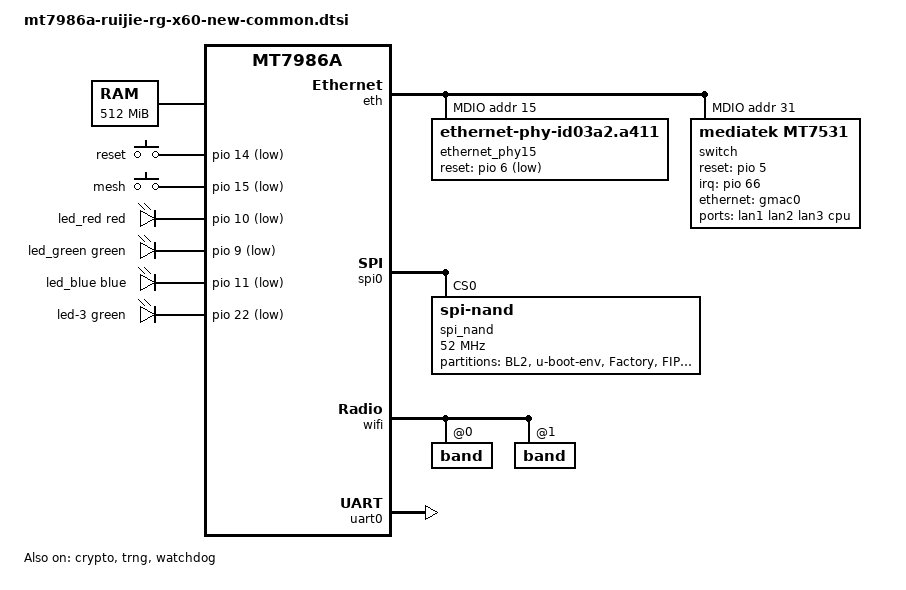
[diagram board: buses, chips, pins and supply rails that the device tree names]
// SPDX-License-Identifier: (GPL-2.0 OR MIT)

/dts-v1/;
#include <dt-bindings/input/input.h>
#include <dt-bindings/gpio/gpio.h>
#include <dt-bindings/leds/common.h>

#include "mt7986a.dtsi"
#include "mt7986-pinctrl.dtsi"

/ {
	aliases {
		serial0 = &uart0;
		led-boot = &led_red;
 		led-failsafe = &led_red;
 		led-running = &led_green;
 		led-upgrade = &led_blue;
	};

	chosen: chosen {
		stdout-path = "serial0:115200n8";
	};

	memory@40000000 {
		reg = <0 0x40000000 0 0x20000000>;
		device_type = "memory";
	};

	gpio-keys {
		compatible = "gpio-keys";

		button-0 {
			label = "reset";
			gpios = <&pio 14 GPIO_ACTIVE_LOW>;
			linux,code = <KEY_RESTART>;
		};

		button-1 {
			label = "mesh";
			gpios = <&pio 15 GPIO_ACTIVE_LOW>;
			linux,code = <BTN_MISC>;
		};
	};

	gpio-leds {
		compatible = "gpio-leds";

		led_red: led-0 {
			color = <LED_COLOR_ID_RED>;
			function = LED_FUNCTION_STATUS;
			gpios = <&pio 10 GPIO_ACTIVE_LOW>;
		};

		led_green: led-1 {
			color = <LED_COLOR_ID_GREEN>;
			function = LED_FUNCTION_STATUS;
			gpios = <&pio 9 GPIO_ACTIVE_LOW>;
		};

		led_blue: led-2 {
			color = <LED_COLOR_ID_BLUE>;
			function = LED_FUNCTION_STATUS;
			gpios = <&pio 11 GPIO_ACTIVE_LOW>;
		};

		led-3 {
			color = <LED_COLOR_ID_GREEN>;
			function = "mesh";
			gpios = <&pio 22 GPIO_ACTIVE_LOW>;
		};
	};
};

&eth {
	status = "okay";

	gmac0: mac@0 {
		compatible = "mediatek,eth-mac";
		reg = <0>;
		phy-mode = "2500base-x";

		nvmem-cells = <&label_mac 1>;
		nvmem-cell-names = "mac-address";

		fixed-link {
			speed = <2500>;
			full-duplex;
			pause;
		};
	};

	gmac1: mac@1 {
		compatible = "mediatek,eth-mac";
		reg = <1>;
		phy-mode = "2500base-x";
		phy-handle = <&ethernet_phy15>;

		nvmem-cells = <&label_mac 0>;
		nvmem-cell-names = "mac-address";
	};

	mdio-bus {
		#address-cells = <1>;
		#size-cells = <0>;

		ethernet_phy15: ethernet-phy@15 {
			compatible = "ethernet-phy-id03a2.a411";
			reg = <15>;
			reset-gpios = <&pio 6 GPIO_ACTIVE_LOW>;
			reset-assert-us = <10000>;
			reset-deassert-us = <10000>;
			phy-mode = "2500base-x";
			airoha,phy-handle;
		};

		switch@1f {
			compatible = "mediatek,mt7531";
			reg = <31>;
			reset-gpios = <&pio 5 GPIO_ACTIVE_HIGH>;
			interrupt-controller;
			#interrupt-cells = <1>;
			interrupt-parent = <&pio>;
			interrupts = <66 IRQ_TYPE_LEVEL_HIGH>;

			ethernet-ports {
				#address-cells = <1>;
				#size-cells = <0>;

				port@1 {
					reg = <1>;
					label = "lan1";
				};

				port@2 {
					reg = <2>;
					label = "lan2";
				};

				port@3 {
					reg = <3>;
					label = "lan3";
				};

				port@6 {
					reg = <6>;
					label = "cpu";
					ethernet = <&gmac0>;
					phy-mode = "2500base-x";

					fixed-link {
						speed = <2500>;
						full-duplex;
						pause;
					};
				};
			};
		};
	};
};

&spi0 {
	pinctrl-names = "default";
	pinctrl-0 = <&spi_nand_pins>;
	status = "okay";

	spi_nand: spi-nand@0 {
		compatible = "spi-nand";
		reg = <0>;

		spi-max-frequency = <52000000>;
		spi-tx-bus-width = <4>;
		spi-rx-bus-width = <4>;

		spi-cal-enable;
		spi-cal-mode = "read-data";
		spi-cal-datalen = <7>;
		spi-cal-data = /bits/ 8 <0x53 0x50 0x49 0x4e 0x41 0x4e 0x44>;
		spi-cal-addrlen = <5>;
		spi-cal-addr = /bits/ 32 <0x0 0x0 0x0 0x0 0x0>;

		partitions {
			compatible = "fixed-partitions";
			#address-cells = <1>;
			#size-cells = <1>;

			partition@0 {
				label = "BL2";
				reg = <0x000000 0x100000>;
				read-only;
			};

			partition@100000 {
				label = "u-boot-env";
				reg = <0x100000 0x80000>;
				read-only;
			};

			partition_factory: partition@180000 {
				label = "Factory";
				reg = <0x180000 0x200000>;
				read-only;
			};

			partition@380000 {
				label = "FIP";
				reg = <0x380000 0x200000>;
				read-only;
			};

			partition_product_info: partition@580000 {
				label = "product_info";
				reg = <0x580000 0x80000>;
				read-only;
			};

			partition@600000 {
				label = "kdump";
				reg = <0x600000 0x80000>;
				read-only;
			};

			partition_ubi: partition@680000 {
				label = "ubi";
				reg = <0x680000 0x6b00000>;
			};
		};
	};
};

&wifi {
	status = "okay";
	pinctrl-names = "default", "dbdc";
	pinctrl-0 = <&wf_2g_5g_pins>;
	pinctrl-1 = <&wf_dbdc_pins>;

	nvmem-cells = <&eeprom_factory_0>;
	nvmem-cell-names = "eeprom";

	band@0 {
		reg = <0>;
		nvmem-cells = <&label_mac 2>;
		nvmem-cell-names = "mac-address";
	};

	band@1 {
		reg = <1>;
		nvmem-cells = <&label_mac 3>;
		nvmem-cell-names = "mac-address";
	};
};

&crypto {
	status = "okay";
};

&trng {
	status = "okay";
};

&uart0 {
	status = "okay";
};

&watchdog {
	status = "okay";
};
